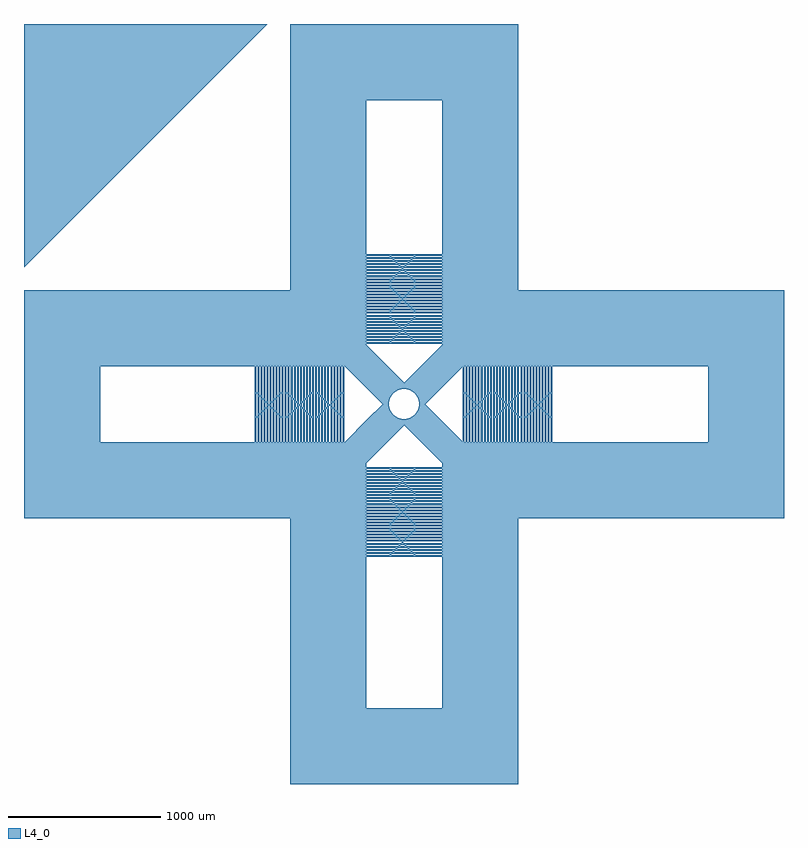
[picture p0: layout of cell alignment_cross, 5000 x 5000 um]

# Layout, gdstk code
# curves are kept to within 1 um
import gdstk
lib = gdstk.Library(unit=1e-6, precision=1e-09)
def R(c, l, rs):  # rectangles x0, y0, x1, y1
    for r in rs: c.add(gdstk.rectangle(r[:2], r[2:], *l))
def A(c, l, x, y, w, h, nx, ny, dx, dy):  # array of equal rectangles
    R(c, l, [(x+i*dx, y+j*dy, x+i*dx+w, y+j*dy+h) for i in range(nx) for j in range(ny)])
def P(c, l, *ps):  # polygons
    for p in ps: c.add(gdstk.Polygon(p, *l))
L4_0 = (4, 0)

alignment_cross = lib.new_cell('alignment_cross')
A(alignment_cross, L4_0, -294, -1004.5, 600, 10, 1, 30, 0, 20)
A(alignment_cross, L4_0, -983.5, -296, 10, 600, 30, 1, 20, 0)
A(alignment_cross, L4_0, 386.5, -296, 10, 600, 30, 1, 20, 0)
A(alignment_cross, L4_0, -294, 395.5, 600, 10, 1, 30, 0, 20)
R(alignment_cross, L4_0, [(-95,-1000.5,-85,-982.5), (-95,-1000.5,-85,-982.5), (65,-1000.5,75,-982.5), (65,-1000.5,75,-982.5), (-75,-980.5,-65,-962.5), (-75,-980.5,-65,-962.5), (45,-980.5,55,-962.5), (45,-980.5,55,-962.5), (-55,-960.5,-45,-942.5), (-55,-960.5,-45,-942.5), (25,-960.5,35,-942.5), (25,-960.5,35,-942.5), (-35,-940.5,-25,-922.5), (-35,-940.5,-25,-922.5), (5,-940.5,15,-922.5), (5,-940.5,15,-922.5), (-15,-920.5,-5,-902.5), (-15,-920.5,-5,-902.5), (-15,-920.5,-5,-902.5), (-15,-920.5,-5,-902.5), (-35,-900.5,-25,-882.5), (-35,-900.5,-25,-882.5), (5,-900.5,15,-882.5), (5,-900.5,15,-882.5), (-55,-880.5,-45,-862.5), (-55,-880.5,-45,-862.5), (25,-880.5,35,-862.5), (25,-880.5,35,-862.5), (-75,-860.5,-65,-842.5), (-75,-860.5,-65,-842.5), (45,-860.5,55,-842.5), (45,-860.5,55,-842.5), (-95,-840.5,-85,-822.5), (-95,-840.5,-85,-822.5), (65,-840.5,75,-822.5), (65,-840.5,75,-822.5), (-95,-800.5,-85,-782.5), (-95,-800.5,-85,-782.5), (65,-800.5,75,-782.5), (65,-800.5,75,-782.5), (-75,-780.5,-65,-762.5), (-75,-780.5,-65,-762.5), (45,-780.5,55,-762.5), (45,-780.5,55,-762.5), (-55,-760.5,-45,-742.5), (-55,-760.5,-45,-742.5), (25,-760.5,35,-742.5), (25,-760.5,35,-742.5), (-35,-740.5,-25,-722.5), (-35,-740.5,-25,-722.5), (5,-740.5,15,-722.5), (5,-740.5,15,-722.5), (-15,-720.5,-5,-702.5), (-15,-720.5,-5,-702.5), (-15,-720.5,-5,-702.5), (-15,-720.5,-5,-702.5), (-35,-700.5,-25,-682.5), (-35,-700.5,-25,-682.5), (5,-700.5,15,-682.5), (5,-700.5,15,-682.5), (-55,-680.5,-45,-662.5), (-55,-680.5,-45,-662.5), (25,-680.5,35,-662.5), (25,-680.5,35,-662.5), (-75,-660.5,-65,-642.5), (-75,-660.5,-65,-642.5), (45,-660.5,55,-642.5), (45,-660.5,55,-642.5), (-95,-640.5,-85,-622.5), (-95,-640.5,-85,-622.5), (65,-640.5,75,-622.5), (65,-640.5,75,-622.5), (-95,-600.5,-85,-582.5), (-95,-600.5,-85,-582.5), (65,-600.5,75,-582.5), (65,-600.5,75,-582.5), (-75,-580.5,-65,-562.5), (-75,-580.5,-65,-562.5), (45,-580.5,55,-562.5), (45,-580.5,55,-562.5), (-55,-560.5,-45,-542.5), (-55,-560.5,-45,-542.5), (25,-560.5,35,-542.5), (25,-560.5,35,-542.5), (-35,-540.5,-25,-522.5), (-35,-540.5,-25,-522.5), (5,-540.5,15,-522.5), (5,-540.5,15,-522.5), (-15,-520.5,-5,-502.5), (-15,-520.5,-5,-502.5), (-15,-520.5,-5,-502.5), (-15,-520.5,-5,-502.5), (-35,-500.5,-25,-482.5), (-35,-500.5,-25,-482.5), (5,-500.5,15,-482.5), (5,-500.5,15,-482.5), (-55,-480.5,-45,-462.5), (-55,-480.5,-45,-462.5), (25,-480.5,35,-462.5), (25,-480.5,35,-462.5), (-75,-460.5,-65,-442.5), (-75,-460.5,-65,-442.5), (45,-460.5,55,-442.5), (45,-460.5,55,-442.5), (-95,-440.5,-85,-422.5), (-95,-440.5,-85,-422.5), (65,-440.5,75,-422.5), (65,-440.5,75,-422.5), (-975.5,-92,-957.5,-82), (-975.5,-92,-957.5,-82), (-815.5,-92,-797.5,-82), (-815.5,-92,-797.5,-82), (-775.5,-92,-757.5,-82), (-775.5,-92,-757.5,-82), (-615.5,-92,-597.5,-82), (-615.5,-92,-597.5,-82), (-575.5,-92,-557.5,-82), (-575.5,-92,-557.5,-82), (-415.5,-92,-397.5,-82), (-415.5,-92,-397.5,-82), (394.5,-92,412.5,-82), (394.5,-92,412.5,-82), (554.5,-92,572.5,-82), (554.5,-92,572.5,-82), (594.5,-92,612.5,-82), (594.5,-92,612.5,-82), (754.5,-92,772.5,-82), (754.5,-92,772.5,-82), (794.5,-92,812.5,-82), (794.5,-92,812.5,-82), (954.5,-92,972.5,-82), (954.5,-92,972.5,-82), (-955.5,-72,-937.5,-62), (-955.5,-72,-937.5,-62), (-835.5,-72,-817.5,-62), (-835.5,-72,-817.5,-62), (-755.5,-72,-737.5,-62), (-755.5,-72,-737.5,-62), (-635.5,-72,-617.5,-62), (-635.5,-72,-617.5,-62), (-555.5,-72,-537.5,-62), (-555.5,-72,-537.5,-62), (-435.5,-72,-417.5,-62), (-435.5,-72,-417.5,-62), (414.5,-72,432.5,-62), (414.5,-72,432.5,-62), (534.5,-72,552.5,-62), (534.5,-72,552.5,-62), (614.5,-72,632.5,-62), (614.5,-72,632.5,-62), (734.5,-72,752.5,-62), (734.5,-72,752.5,-62), (814.5,-72,832.5,-62), (814.5,-72,832.5,-62), (934.5,-72,952.5,-62), (934.5,-72,952.5,-62), (-935.5,-52,-917.5,-42), (-935.5,-52,-917.5,-42), (-855.5,-52,-837.5,-42), (-855.5,-52,-837.5,-42), (-735.5,-52,-717.5,-42), (-735.5,-52,-717.5,-42), (-655.5,-52,-637.5,-42), (-655.5,-52,-637.5,-42), (-535.5,-52,-517.5,-42), (-535.5,-52,-517.5,-42), (-455.5,-52,-437.5,-42), (-455.5,-52,-437.5,-42), (434.5,-52,452.5,-42), (434.5,-52,452.5,-42), (514.5,-52,532.5,-42), (514.5,-52,532.5,-42), (634.5,-52,652.5,-42), (634.5,-52,652.5,-42), (714.5,-52,732.5,-42), (714.5,-52,732.5,-42), (834.5,-52,852.5,-42), (834.5,-52,852.5,-42), (914.5,-52,932.5,-42), (914.5,-52,932.5,-42), (-915.5,-32,-897.5,-22), (-915.5,-32,-897.5,-22), (-875.5,-32,-857.5,-22), (-875.5,-32,-857.5,-22), (-715.5,-32,-697.5,-22), (-715.5,-32,-697.5,-22), (-675.5,-32,-657.5,-22), (-675.5,-32,-657.5,-22), (-515.5,-32,-497.5,-22), (-515.5,-32,-497.5,-22), (-475.5,-32,-457.5,-22), (-475.5,-32,-457.5,-22), (454.5,-32,472.5,-22), (454.5,-32,472.5,-22), (494.5,-32,512.5,-22), (494.5,-32,512.5,-22), (654.5,-32,672.5,-22), (654.5,-32,672.5,-22), (694.5,-32,712.5,-22), (694.5,-32,712.5,-22), (854.5,-32,872.5,-22), (854.5,-32,872.5,-22), (894.5,-32,912.5,-22), (894.5,-32,912.5,-22), (-895.5,-12,-877.5,-2), (-895.5,-12,-877.5,-2), (-895.5,-12,-877.5,-2), (-895.5,-12,-877.5,-2), (-695.5,-12,-677.5,-2), (-695.5,-12,-677.5,-2), (-695.5,-12,-677.5,-2), (-695.5,-12,-677.5,-2), (-495.5,-12,-477.5,-2), (-495.5,-12,-477.5,-2), (-495.5,-12,-477.5,-2), (-495.5,-12,-477.5,-2), (474.5,-12,492.5,-2), (474.5,-12,492.5,-2), (474.5,-12,492.5,-2), (474.5,-12,492.5,-2), (674.5,-12,692.5,-2), (674.5,-12,692.5,-2), (674.5,-12,692.5,-2), (674.5,-12,692.5,-2), (874.5,-12,892.5,-2), (874.5,-12,892.5,-2), (874.5,-12,892.5,-2), (874.5,-12,892.5,-2), (-915.5,8,-897.5,18), (-915.5,8,-897.5,18), (-875.5,8,-857.5,18), (-875.5,8,-857.5,18), (-715.5,8,-697.5,18), (-715.5,8,-697.5,18), (-675.5,8,-657.5,18), (-675.5,8,-657.5,18), (-515.5,8,-497.5,18), (-515.5,8,-497.5,18), (-475.5,8,-457.5,18), (-475.5,8,-457.5,18), (454.5,8,472.5,18), (454.5,8,472.5,18), (494.5,8,512.5,18), (494.5,8,512.5,18), (654.5,8,672.5,18), (654.5,8,672.5,18), (694.5,8,712.5,18), (694.5,8,712.5,18), (854.5,8,872.5,18), (854.5,8,872.5,18), (894.5,8,912.5,18), (894.5,8,912.5,18), (-935.5,28,-917.5,38), (-935.5,28,-917.5,38), (-855.5,28,-837.5,38), (-855.5,28,-837.5,38), (-735.5,28,-717.5,38), (-735.5,28,-717.5,38), (-655.5,28,-637.5,38), (-655.5,28,-637.5,38), (-535.5,28,-517.5,38), (-535.5,28,-517.5,38), (-455.5,28,-437.5,38), (-455.5,28,-437.5,38), (434.5,28,452.5,38), (434.5,28,452.5,38), (514.5,28,532.5,38), (514.5,28,532.5,38), (634.5,28,652.5,38), (634.5,28,652.5,38), (714.5,28,732.5,38), (714.5,28,732.5,38), (834.5,28,852.5,38), (834.5,28,852.5,38), (914.5,28,932.5,38), (914.5,28,932.5,38), (-955.5,48,-937.5,58), (-955.5,48,-937.5,58), (-835.5,48,-817.5,58), (-835.5,48,-817.5,58), (-755.5,48,-737.5,58), (-755.5,48,-737.5,58), (-635.5,48,-617.5,58), (-635.5,48,-617.5,58), (-555.5,48,-537.5,58), (-555.5,48,-537.5,58), (-435.5,48,-417.5,58), (-435.5,48,-417.5,58), (414.5,48,432.5,58), (414.5,48,432.5,58), (534.5,48,552.5,58), (534.5,48,552.5,58), (614.5,48,632.5,58), (614.5,48,632.5,58), (734.5,48,752.5,58), (734.5,48,752.5,58), (814.5,48,832.5,58), (814.5,48,832.5,58), (934.5,48,952.5,58), (934.5,48,952.5,58), (-975.5,68,-957.5,78), (-975.5,68,-957.5,78), (-815.5,68,-797.5,78), (-815.5,68,-797.5,78), (-775.5,68,-757.5,78), (-775.5,68,-757.5,78), (-615.5,68,-597.5,78), (-615.5,68,-597.5,78), (-575.5,68,-557.5,78), (-575.5,68,-557.5,78), (-415.5,68,-397.5,78), (-415.5,68,-397.5,78), (394.5,68,412.5,78), (394.5,68,412.5,78), (554.5,68,572.5,78), (554.5,68,572.5,78), (594.5,68,612.5,78), (594.5,68,612.5,78), (754.5,68,772.5,78), (754.5,68,772.5,78), (794.5,68,812.5,78), (794.5,68,812.5,78), (954.5,68,972.5,78), (954.5,68,972.5,78), (-95,399.5,-85,417.5), (-95,399.5,-85,417.5), (65,399.5,75,417.5), (65,399.5,75,417.5), (-75,419.5,-65,437.5), (-75,419.5,-65,437.5), (45,419.5,55,437.5), (45,419.5,55,437.5), (-55,439.5,-45,457.5), (-55,439.5,-45,457.5), (25,439.5,35,457.5), (25,439.5,35,457.5), (-35,459.5,-25,477.5), (-35,459.5,-25,477.5), (5,459.5,15,477.5), (5,459.5,15,477.5), (-15,479.5,-5,497.5), (-15,479.5,-5,497.5), (-15,479.5,-5,497.5), (-15,479.5,-5,497.5), (-35,499.5,-25,517.5), (-35,499.5,-25,517.5), (5,499.5,15,517.5), (5,499.5,15,517.5), (-55,519.5,-45,537.5), (-55,519.5,-45,537.5), (25,519.5,35,537.5), (25,519.5,35,537.5), (-75,539.5,-65,557.5), (-75,539.5,-65,557.5), (45,539.5,55,557.5), (45,539.5,55,557.5), (-95,559.5,-85,577.5), (-95,559.5,-85,577.5), (65,559.5,75,577.5), (65,559.5,75,577.5), (-95,599.5,-85,617.5), (-95,599.5,-85,617.5), (65,599.5,75,617.5), (65,599.5,75,617.5), (-75,619.5,-65,637.5), (-75,619.5,-65,637.5), (45,619.5,55,637.5), (45,619.5,55,637.5), (-55,639.5,-45,657.5), (-55,639.5,-45,657.5), (25,639.5,35,657.5), (25,639.5,35,657.5), (-35,659.5,-25,677.5), (-35,659.5,-25,677.5), (5,659.5,15,677.5), (5,659.5,15,677.5), (-15,679.5,-5,697.5), (-15,679.5,-5,697.5), (-15,679.5,-5,697.5), (-15,679.5,-5,697.5), (-35,699.5,-25,717.5), (-35,699.5,-25,717.5), (5,699.5,15,717.5), (5,699.5,15,717.5), (-55,719.5,-45,737.5), (-55,719.5,-45,737.5), (25,719.5,35,737.5), (25,719.5,35,737.5), (-75,739.5,-65,757.5), (-75,739.5,-65,757.5), (45,739.5,55,757.5), (45,739.5,55,757.5), (-95,759.5,-85,777.5), (-95,759.5,-85,777.5), (65,759.5,75,777.5), (65,759.5,75,777.5), (-95,799.5,-85,817.5), (-95,799.5,-85,817.5), (65,799.5,75,817.5), (65,799.5,75,817.5), (-75,819.5,-65,837.5), (-75,819.5,-65,837.5), (45,819.5,55,837.5), (45,819.5,55,837.5), (-55,839.5,-45,857.5), (-55,839.5,-45,857.5), (25,839.5,35,857.5), (25,839.5,35,857.5), (-35,859.5,-25,877.5), (-35,859.5,-25,877.5), (5,859.5,15,877.5), (5,859.5,15,877.5), (-15,879.5,-5,897.5), (-15,879.5,-5,897.5), (-15,879.5,-5,897.5), (-15,879.5,-5,897.5), (-35,899.5,-25,917.5), (-35,899.5,-25,917.5), (5,899.5,15,917.5), (5,899.5,15,917.5), (-55,919.5,-45,937.5), (-55,919.5,-45,937.5), (25,919.5,35,937.5), (25,919.5,35,937.5), (-75,939.5,-65,957.5), (-75,939.5,-65,957.5), (45,939.5,55,957.5), (45,939.5,55,957.5), (-95,959.5,-85,977.5), (-95,959.5,-85,977.5), (65,959.5,75,977.5), (65,959.5,75,977.5)])
P(alignment_cross, L4_0, [(-2500,900),(-2500,2500),(-900,2500)],
  [(-750,-2500),(-750,-750),(-2500,-750),(-2500,750),(-750,750),(-750,2500),(750,2500),(750,750),(2500,750),(2500,-250),(2000,-250),(2000,250),(391.421,250),(141.421,0),(391.421,-250),(2500,-250),(2500,-750),(750,-750),(750,-2000),(250,-2000),(250,-391.421),(0,-141.421),(-108.579,-250),(-391.421,-250),(-241.421,-100),(0,-100),(21.95,-97.55),(36.75,-93),(48.75,-87.3),(69.9,-71.5),(86.25,-50.6),(96.5,-26.2),(100,0),(97.05,24.1),(87.3,48.75),(71.5,69.9),(52.5,85.1),(30.45,95.25),(4.45,99.9),(-21.95,97.55),(-38.8,92.15),(-54.4,83.9),(-66.65,74.55),(-80.1,59.85),(-89.4,44.8),(-96.5,26.2),(-99.6,8.85),(-99.6,-8.85),(-96.5,-26.2),(-89.4,-44.8),(-80.1,-59.85),(-66.65,-74.55),(-52.5,-85.1),(-36.75,-93),(-19.8,-98),(0,-100),(-241.421,-100),(-141.421,0),(-282.842,141.421),(0,141.421),(250,391.421),(250,2000),(-250,2000),(-250,391.421),(0,141.421),(-282.842,141.421),(-391.421,250),(-2000,250),(-2000,-250),(-108.579,-250),(-250,-391.421),(-250,-2000),(750,-2000),(750,-2500)])

lib.write_gds('alignment_cross.gds')
